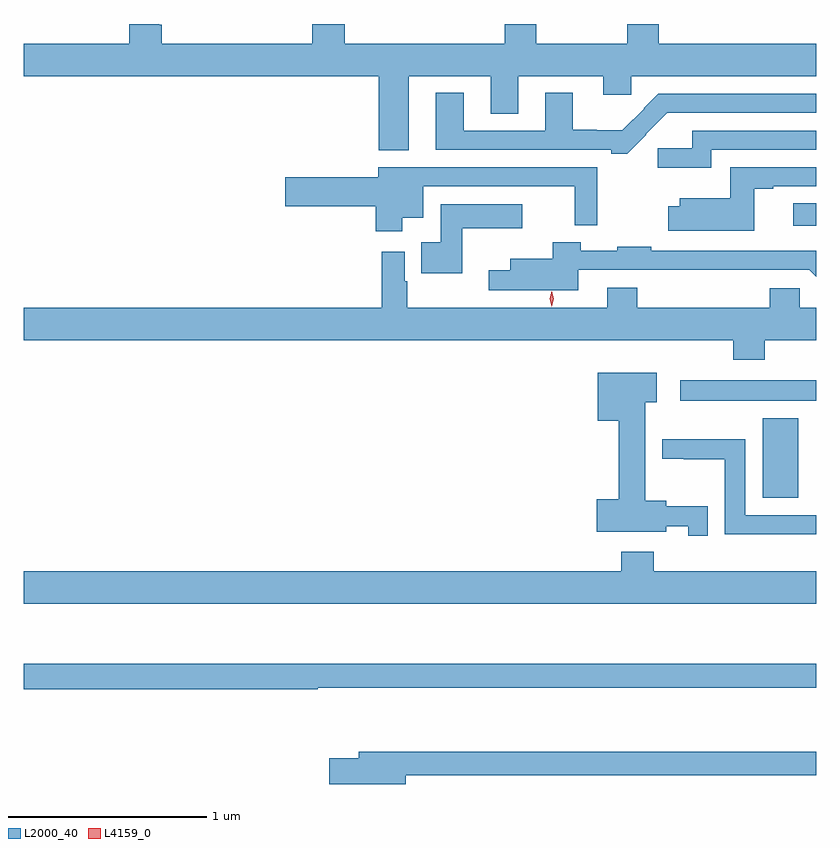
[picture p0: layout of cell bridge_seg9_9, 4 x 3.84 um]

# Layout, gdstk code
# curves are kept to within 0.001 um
import gdstk
lib = gdstk.Library(unit=1e-6, precision=1e-09)
def R(c, l, rs):  # rectangles x0, y0, x1, y1
    for r in rs: c.add(gdstk.rectangle(r[:2], r[2:], *l))
def P(c, l, *ps):  # polygons
    for p in ps: c.add(gdstk.Polygon(p, *l))
L2000_40 = (2000, 40)
L4159_0 = (4159, 0)

bridge_seg9_9 = lib.new_cell('bridge_seg9_9')
R(bridge_seg9_9, L2000_40, [(1022.447,1239.581,1022.626,1239.982), (1022.031,1240.07,1022.717,1240.174), (1022.601,1240.953,1022.717,1241.066)])
P(bridge_seg9_9, L2000_40, [(1020.661,1241.708),(1021.073,1241.708),(1021.073,1241.518),(1021.213,1241.518),(1021.213,1241.708),(1021.643,1241.708),(1021.643,1241.613),(1021.782,1241.613),(1021.782,1241.708),(1022.717,1241.708),(1022.717,1241.872),(1021.922,1241.872),(1021.922,1241.97),(1021.909,1241.97),(1021.909,1241.971),(1021.762,1241.971),(1021.762,1241.872),(1021.305,1241.872),(1021.305,1241.971),(1021.157,1241.971),(1021.157,1241.97),(1021.145,1241.97),(1021.145,1241.872),(1020.338,1241.872),(1020.338,1241.971),(1020.173,1241.971),(1020.173,1241.872),(1019.414,1241.872),(1019.414,1241.968),(1019.401,1241.968),(1019.401,1241.971),(1019.249,1241.971),(1019.249,1241.872),(1018.717,1241.872),(1018.717,1241.708),(1020.509,1241.708),(1020.509,1241.333),(1020.661,1241.333)],
  [(1021.858,1241.411),(1021.856,1241.414),(1021.964,1241.522),(1022.717,1241.523),(1022.717,1241.619),(1021.919,1241.619),(1021.846,1241.546),(1021.848,1241.544),(1021.738,1241.434),(1021.61,1241.434),(1021.61,1241.438),(1021.489,1241.438),(1021.489,1241.623),(1021.349,1241.623),(1021.349,1241.433),(1020.937,1241.433),(1020.937,1241.623),(1020.797,1241.623),(1020.797,1241.337),(1021.682,1241.337),(1021.682,1241.315),(1021.763,1241.315)],
  [(1022.187,1241.337),(1022.717,1241.337),(1022.717,1241.433),(1022.09,1241.433),(1022.09,1241.343),(1021.917,1241.343),(1021.917,1241.246),(1022.187,1241.246)],
  [(1022.404,1241.139),(1022.5,1241.139),(1022.5,1241.151),(1022.717,1241.151),(1022.717,1241.247),(1022.282,1241.247),(1022.282,1241.092),(1022.027,1241.092),(1022.027,1241.05),(1021.971,1241.05),(1021.971,1240.928),(1022.404,1240.928)],
  [(1020.628,1240.994),(1020.733,1240.994),(1020.733,1241.151),(1021.498,1241.151),(1021.498,1240.956),(1021.612,1240.956),(1021.612,1241.247),(1020.506,1241.247),(1020.506,1241.198),(1020.036,1241.198),(1020.036,1241.051),(1020.494,1241.051),(1020.494,1240.926),(1020.628,1240.926)],
  [(1020.931,1240.94),(1021.234,1240.94),(1021.234,1241.062),(1020.822,1241.062),(1020.822,1240.87),(1020.724,1240.87),(1020.724,1240.712),(1020.931,1240.712)],
  [(1021.516,1240.731),(1022.682,1240.731),(1022.717,1240.696),(1022.717,1240.827),(1021.883,1240.827),(1021.883,1240.847),(1021.712,1240.847),(1021.712,1240.827),(1021.529,1240.827),(1021.529,1240.87),(1021.387,1240.87),(1021.387,1240.786),(1021.172,1240.786),(1021.172,1240.727),(1021.065,1240.727),(1021.065,1240.628),(1021.516,1240.628)],
  [(1022.457,1240.376),(1022.717,1240.376),(1022.717,1240.54),(1022.634,1240.54),(1022.634,1240.638),(1022.483,1240.638),(1022.483,1240.54),(1021.814,1240.54),(1021.814,1240.639),(1021.661,1240.639),(1021.661,1240.54),(1020.652,1240.54),(1020.652,1240.673),(1020.639,1240.673),(1020.639,1240.822),(1020.523,1240.822),(1020.523,1240.54),(1018.717,1240.54),(1018.717,1240.376),(1022.297,1240.376),(1022.297,1240.277),(1022.457,1240.277)],
  [(1022.17,1239.537),(1021.96,1239.537),(1021.96,1239.565),(1021.855,1239.565),(1021.855,1240.061),(1021.912,1240.061),(1021.912,1240.21),(1021.613,1240.21),(1021.613,1239.968),(1021.721,1239.968),(1021.721,1239.573),(1021.608,1239.573),(1021.608,1239.407),(1021.96,1239.407),(1021.96,1239.436),(1022.07,1239.436),(1022.07,1239.387),(1022.17,1239.387)],
  [(1022.693,1239.396),(1022.717,1239.396),(1022.717,1239.492),(1022.359,1239.492),(1022.359,1239.875),(1021.94,1239.875),(1021.94,1239.776),(1022.047,1239.776),(1022.047,1239.775),(1022.255,1239.775),(1022.255,1239.395),(1022.693,1239.395)],
  [(1022.717,1239.208),(1021.898,1239.208),(1021.898,1239.307),(1021.733,1239.307),(1021.733,1239.208),(1018.717,1239.208),(1018.717,1239.044),(1022.717,1239.044)],
  [(1020.2,1238.622),(1022.717,1238.622),(1022.717,1238.743),(1018.717,1238.743),(1018.717,1238.614),(1020.2,1238.614)],
  [(1020.646,1238.178),(1022.717,1238.178),(1022.717,1238.299),(1020.407,1238.299),(1020.407,1238.265),(1020.258,1238.265),(1020.258,1238.135),(1020.646,1238.135)])
P(bridge_seg9_9, L4159_0, [(1021.382,1240.545),(1021.382,1240.545),(1021.372,1240.584),(1021.382,1240.623),(1021.382,1240.623),(1021.382,1240.623),(1021.392,1240.584),(1021.382,1240.545)])

lib.write_gds('bridge_seg9_9.gds')
